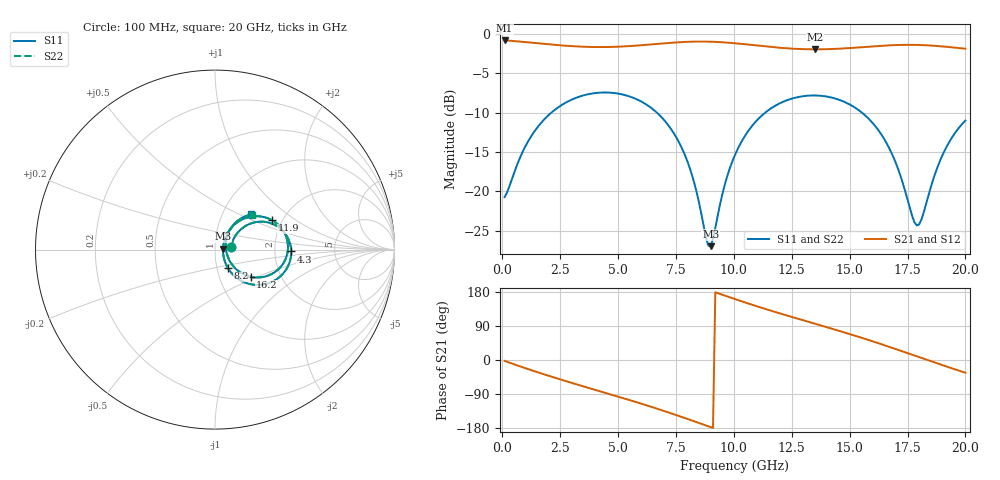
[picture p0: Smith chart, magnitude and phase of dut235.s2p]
! Touchstone file exported from HFSS 2026.1.0
!  File:  C:/ffzhzh/LocalFiles/Ansys_Project_Files/temp_train_TSV_RDL_235_1783065332_17544.aedt
!  Generated:  04:08:34 PM Jul  3, 2026
!  Design:  TSV_RDL
!  Project:  temp_train_TSV_RDL_235_1783065332_17544
! Variables:
!  h_bsmrdl = 2.11um
!  h_ox = 20um
!  h_rdl = 5um
!  h_sub = 72.36um
!  h_tmrdl = 2.18um
!  h_tsv = 72.36um
!  h_via = 3um
!  l_bsmrdl = 870.56um
!  l_sub = 6803.51um
!  l_tmrdl = 931.12um
!  m_sub = 200um
!  pitch = 19.88um
!  r_tsv = 3.21um
!  s_tmrdl = 10um
!  w_bsmrdl = 11.98um
!  w_sub = 500um
!  w_tmrdl = 10.47um
!  x_tsv_center1 = 936.355um
!  x_tsv_center2 = 1818.895um
!  x_tsv_center3 = 2760.485um
!  x_tsv_center4 = 3643.025um
!  x_tsv_center5 = 4584.615um
!  x_tsv_center6 = 5467.155um
# GHz S MA R 50.000000
! Terminal data exported
! Port[1] = TM_RDL1_1_T1
! Port[2] = TM_RDL5_1_T1
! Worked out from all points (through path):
!   200 points, 100 MHz to 20 GHz, reference 50 ohm
!   highest |S21| = -0.82 dB at 100 MHz (marker M1); lowest = -1.9 dB at 13.5 GHz (marker M2)
!   group delay of S21, straight-line fit = 54.2 ps
!   lowest |S11| = -27.0 dB at 9 GHz (marker M3), VSWR 1.09, Z = 54.7 + j0.62 ohm
!   |S11| at or under -10 dB: start of sweep to 2.115 GHz; 6.679 GHz to 11.35 GHz (4.673 GHz wide, 51.8 % of centre); 15.53 GHz to end of sweep
!   |S22| runs from -26.8 to -7.4 dB; largest |S21 - S12| = 1.6e-14
!   S11 on the Smith chart (normalised r, x): 100 MHz: 1.20, +0.04; 4.3 GHz: 2.48, -0.06; 8.2 GHz: 1.13, -0.24; 11.9 GHz: 1.77, +0.66; 16.2 GHz: 1.41, -0.46; 20 GHz: 1.36, +0.58
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0.1  0.09206 9.5  0.9097 -2.3  0.9097 -2.3  0.09205 9.5
! Gamma 0 0 0 0
! Port Impedance 50 0 50 0
1.5  0.2532 35.7  0.8731 -31.8  0.8731 -31.8  0.2531 35.7
3.5  0.4073 10.5  0.83 -69.6  0.83 -69.6  0.4072 10.5
4.3  0.4248 -1.4  0.8259 -84.0  0.8259 -84.0  0.4248 -1.3
5.6  0.3962 -21.4  0.8397 -107.6  0.8397 -107.6  0.3961 -21.3
6.8  0.3041 -40.4  0.8677 -130.8  0.8677 -130.8  0.3041 -40.2
7.6  0.2093 -51.6  0.8856 -147.1  0.8856 -147.1  0.2093 -51.4
8.2  0.1261 -55.1  0.8938 -159.9  0.8938 -159.9  0.1262 -54.8
8.8  0.05073 -26.7  0.8948 -172.7  0.8948 -172.7  0.05123 -26.3
9  0.04491 7.2  0.8934 -177.0  0.8934 -177.0  0.04553 7.3
9.6  0.1091 52.4  0.8842 170.1  0.8842 170.1  0.1095 52.1
10.1  0.1771 52.1  0.8719 159.7  0.8719 159.7  0.1774 52.0
10.9  0.2728 42.4  0.8479 143.6  0.8479 143.6  0.273 42.3
11.9  0.3577 27.2  0.8195 124.6  0.8195 124.6  0.3578 27.2
13.4  0.4069 4.1  0.7991 97.6  0.7991 97.6  0.407 4.1
13.5  0.4069 2.5  0.7989 95.8  0.7989 95.8  0.407 2.6
14.9  0.3633 -18.9  0.812 70.4  0.812 70.4  0.3634 -18.8
16.2  0.2496 -37.4  0.8383 45.2  0.8383 45.2  0.2498 -37.1
16.7  0.1895 -42.2  0.8469 34.9  0.8469 34.9  0.1899 -41.8
17.9  0.06083 2.0  0.8523 9.6  0.8523 9.6  0.06252 2.2
19  0.1686 53.5  0.8339 -13.6  0.8339 -13.6  0.1694 52.9
20  0.282 44.1  0.8062 -33.6  0.8062 -33.6  0.2825 43.8
